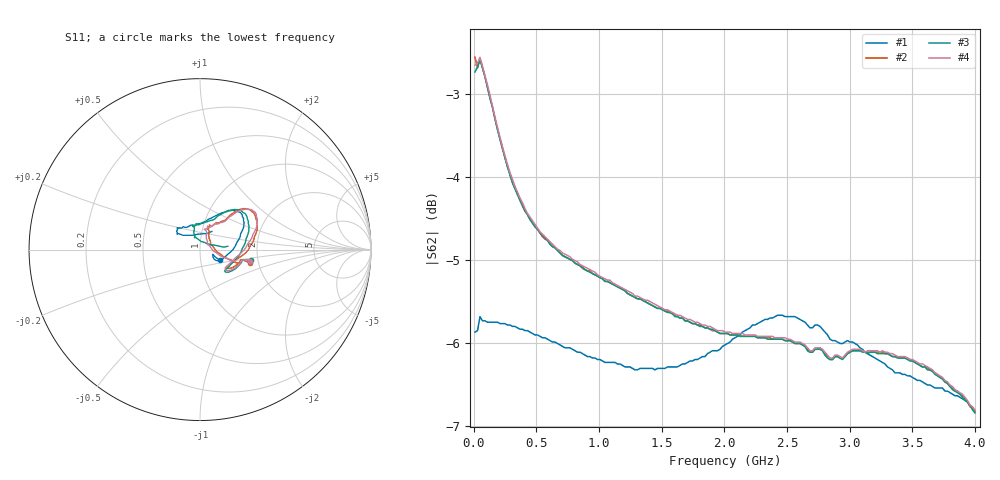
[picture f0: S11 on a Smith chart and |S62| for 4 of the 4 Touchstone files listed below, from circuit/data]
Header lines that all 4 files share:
! Hittite Microwave Corporation
! 20 Alpha Road
! Chelmsford, MA 01824
! Tel: 978-250-3343
! Fax: 978-250-3373
! Device: HMC276QS24, 0.7-3.0 GHz, GaAS MMIC 4x2 Switch Matrix in 24-lead QSOP package
! Misc: Data was de-embedded to package pins.
!  Port 1 = OP1
!  Port 2 = VL
!  Port 3 = VH
!  Port 4 = HH
!  Port 5 = HL
!  Port 6 = OP2
!  Vctl = 0 V[Logic 0] / +5 V[Logic 1]
!  Control Lines (Logic)
!  HV 2 = 0, Tone 2 = 0
! 6 Port Network Data
! freq  dbS11  angS11  dbS12  angS12  dbS13  angS13  dbS14  angS14
!  dbS15  angS15  dbS16  angS16
!  dbS21  angS21  dbS22  angS22
!  dbS23  angS23  dbS24  angS24  dbS25  angS25  dbS26  angS26
!  dbS31  angS31  dbS32  angS32  dbS33  angS33  dbS34  angS34
!  dbS35  angS35  dbS36  angS36
!  dbS41  angS41  dbS42  angS42
!  dbS43  angS43  dbS44  angS44  dbS45  angS45  dbS46  angS46
!  dbS51  angS51  dbS52  angS52  dbS53  angS53  dbS54  angS54
# MHz S DB R 50
Fixed: Vdd = +5 V
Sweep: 10 MHz to 4 GHz
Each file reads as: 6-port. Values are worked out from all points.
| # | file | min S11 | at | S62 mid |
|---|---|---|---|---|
| 1 | HMC276QS24_state1_deembedded.s6p | -21.9 dB | 49.9 MHz | -6.0 dB at 2.005 GHz |
| 2 | HMC276QS24_state5_deembedded.s6p | -23.6 dB | 3.322 GHz | -5.9 dB at 2.005 GHz |
| 3 | HMC276QS24_state9_deembedded.s6p | -26.4 dB | 3.501 GHz | -5.9 dB at 2.005 GHz |
| 4 | HMC276QS24_state13_deembedded.s6p | -25.8 dB | 3.302 GHz | -5.9 dB at 2.005 GHz |
